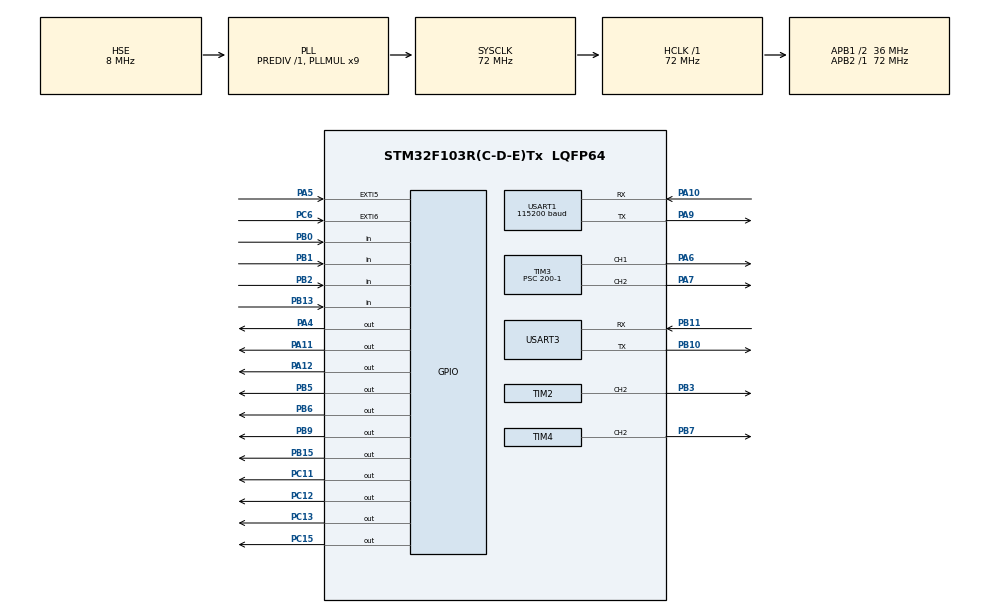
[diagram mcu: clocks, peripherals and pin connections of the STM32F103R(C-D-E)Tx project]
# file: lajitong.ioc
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Mcu.Family=STM32F1
Mcu.Name=STM32F103R(C-D-E)Tx
Mcu.Package=LQFP64
NVIC.EXTI9_5_IRQn=true\:1\:0\:true\:false\:true\:true\:true\:true
NVIC.PriorityGroup=NVIC_PRIORITYGROUP_4
NVIC.TIM1_UP_IRQn=true\:0\:0\:false\:false\:true\:true\:true\:true
NVIC.TIM4_IRQn=true\:3\:0\:true\:false\:true\:true\:true\:true
NVIC.TIM8_UP_IRQn=true\:0\:0\:false\:false\:true\:true\:true\:true
NVIC.USART1_IRQn=true\:0\:0\:true\:false\:true\:true\:true\:true
NVIC.USART3_IRQn=true\:0\:0\:false\:false\:true\:true\:true\:true
PA10.Mode=Asynchronous
PA10.Signal=USART1_RX
PA11.GPIO_PuPd=GPIO_PULLDOWN
PA11.GPIO_Speed=GPIO_SPEED_FREQ_HIGH
PA11.Signal=GPIO_Output
PA12.GPIO_PuPd=GPIO_PULLDOWN
PA12.GPIO_Speed=GPIO_SPEED_FREQ_HIGH
PA12.Signal=GPIO_Output
PA13.Mode=Serial_Wire
PA13.Signal=SYS_JTMS-SWDIO
PA14.Mode=Serial_Wire
PA14.Signal=SYS_JTCK-SWCLK
PA4.GPIO_PuPd=GPIO_PULLDOWN
PA4.GPIO_Speed=GPIO_SPEED_FREQ_HIGH
PA4.Signal=GPIO_Output
PA5.GPIO_ModeDefaultEXTI=GPIO_MODE_IT_FALLING
PA5.GPIO_PuPd=GPIO_PULLUP
PA5.Signal=GPXTI5
PA6.Signal=S_TIM3_CH1
PA7.Signal=S_TIM3_CH2
PA9.Mode=Asynchronous
PA9.Signal=USART1_TX
PB0.GPIO_PuPd=GPIO_PULLUP
PB0.Signal=GPIO_Input
PB1.GPIO_PuPd=GPIO_PULLUP
PB1.Signal=GPIO_Input
PB10.Mode=Asynchronous
PB10.Signal=USART3_TX
PB11.Mode=Asynchronous
PB11.Signal=USART3_RX
PB13.GPIO_PuPd=GPIO_PULLUP
PB13.Signal=GPIO_Input
PB15.GPIO_ModeDefaultOutputPP=GPIO_MODE_OUTPUT_PP
PB15.GPIO_PuPd=GPIO_PULLUP
PB15.GPIO_Speed=GPIO_SPEED_FREQ_HIGH
PB15.PinState=GPIO_PIN_SET
PB15.Signal=GPIO_Output
PB2.GPIO_PuPd=GPIO_PULLUP
PB2.Signal=GPIO_Input
PB3.Signal=S_TIM2_CH2
PB5.Signal=GPIO_Output
PB6.Signal=GPIO_Output
PB7.Signal=S_TIM4_CH2
PB9.Signal=GPIO_Output
PC11.GPIO_PuPd=GPIO_PULLDOWN
PC11.GPIO_Speed=GPIO_SPEED_FREQ_HIGH
PC11.Signal=GPIO_Output
PC12.GPIO_PuPd=GPIO_PULLDOWN
PC12.Signal=GPIO_Output
PC13-TAMPER-RTC.GPIO_ModeDefaultOutputPP=GPIO_MODE_OUTPUT_PP
PC13-TAMPER-RTC.GPIO_PuPd=GPIO_NOPULL
PC13-TAMPER-RTC.PinState=GPIO_PIN_RESET
PC13-TAMPER-RTC.Signal=GPIO_Output
PC15-OSC32_OUT.GPIO_PuPd=GPIO_PULLDOWN
PC15-OSC32_OUT.GPIO_Speed=GPIO_SPEED_FREQ_HIGH
PC15-OSC32_OUT.Signal=GPIO_Output
PC6.GPIO_ModeDefaultEXTI=GPIO_MODE_IT_FALLING
PC6.GPIO_PuPd=GPIO_PULLUP
PC6.Signal=GPXTI6
PD0-OSC_IN.Mode=HSE-External-Oscillator
PD0-OSC_IN.Signal=RCC_OSC_IN
PD1-OSC_OUT.Mode=HSE-External-Oscillator
PD1-OSC_OUT.Signal=RCC_OSC_OUT
ProjectManager.HeapSize=0x200
ProjectManager.StackSize=0x400
ProjectManager.TargetToolchain=MDK-ARM V5.32
RCC.AHBFreq_Value=72000000
RCC.APB1CLKDivider=RCC_HCLK_DIV2
RCC.APB1Freq_Value=36000000
RCC.APB1TimFreq_Value=72000000
RCC.APB2Freq_Value=72000000
RCC.APB2TimFreq_Value=72000000
RCC.HCLKFreq_Value=72000000
RCC.PLLMUL=RCC_PLL_MUL9
RCC.PLLSourceVirtual=RCC_PLLSOURCE_HSE
RCC.SYSCLKFreq_VALUE=72000000
RCC.SYSCLKSource=RCC_SYSCLKSOURCE_PLLCLK
RCC.USBFreq_Value=72000000
SH.S_TIM2_CH2.0=TIM2_CH2,PWM Generation2 CH2
SH.S_TIM3_CH1.0=TIM3_CH1,PWM Generation1 CH1
SH.S_TIM3_CH2.0=TIM3_CH2,PWM Generation2 CH2
SH.S_TIM4_CH2.0=TIM4_CH2,PWM Generation2 CH2
TIM1.Period=10000-1
TIM1.Prescaler=7200-1
TIM2.AutoReloadPreload=TIM_AUTORELOAD_PRELOAD_ENABLE
TIM2.Channel-PWM\ Generation2\ CH2=TIM_CHANNEL_2
TIM2.Period=199
TIM2.Prescaler=7199
TIM3.Channel-PWM\ Generation1\ CH1=TIM_CHANNEL_1
TIM3.Channel-PWM\ Generation2\ CH2=TIM_CHANNEL_2
TIM3.Period=100-1
TIM3.Prescaler=200-1
TIM3.Pulse-PWM\ Generation1\ CH1=19
TIM3.Pulse-PWM\ Generation2\ CH2=40
TIM4.AutoReloadPreload=TIM_AUTORELOAD_PRELOAD_ENABLE
TIM4.Channel-PWM\ Generation2\ CH2=TIM_CHANNEL_2
TIM4.Period=99
TIM4.Prescaler=71
TIM4.Pulse-PWM\ Generation2\ CH2=100
TIM8.Period=10000-1
TIM8.Prescaler=7200-1
USART1.BaudRate=115200
USART1.VirtualMode=VM_ASYNC
USART3.VirtualMode=VM_ASYNC
VP_TIM1_VS_ClockSourceINT.Mode=Internal
VP_TIM2_VS_ClockSourceINT.Mode=Internal
VP_TIM3_VS_ClockSourceINT.Mode=Internal
VP_TIM4_VS_ClockSourceINT.Mode=Internal
VP_TIM8_VS_ClockSourceINT.Mode=Internal
board=custom

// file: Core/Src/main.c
/* USER CODE BEGIN Header */
/**
  ******************************************************************************
  * @file           : main.c
  * @brief          : Main program body
  ******************************************************************************
  * @attention
  *
  * Copyright (c) 2024 STMicroelectronics.
  * All rights reserved.
  *
  * This software is licensed under terms that can be found in the LICENSE file
  * in the root directory of this software component.
  * If no LICENSE file comes with this software, it is provided AS-IS.
  *
  ******************************************************************************
  */
/* USER CODE END Header */
#include "main.h"
#include "tim.h"
#include "usart.h"
#include "gpio.h"

/* USER CODE BEGIN Includes */
//#include "bujin.h"
#include "control.h"
#include "stdio.h"
#include "HCSR04.h"

#define FRAME_LENGTH 5       //接收长度
extern uint8_t rxBuffer[FRAME_LENGTH]; //用于接收的数组
extern uint8_t rxData;    //接收数据，通过接收一个数据不停的数组移位实现接收多个数据

uint8_t hazardous_waste=0;//数量
uint8_t recyclable_waste=0;
uint8_t kitchen_waste=0;
uint8_t other_waste=0;

uint8_t serial_number=0;//总数量

uint8_t hazardous_waste1=0;//标志位
uint8_t kitchen_waste1=0;
uint8_t other_waste1=0;
uint8_t recyclable_waste1=0;

uint8_t waste = 0;

extern int a,b;

uint8_t youhai_yanman=0,kehuishou_yanman=0,chuyu_yanman=0,qita_yanman=0;

uint8_t kehuishouyasuo = 0;

uint32_t c=1;

uint8_t you = 0;

uint8_t ture1 = 0;

uint16_t bei=0;

uint8_t zhibei = 0;

uint8_t zxdnb = 0x00;
/* USER CODE END Includes */

void SystemClock_Config(void);
/* USER CODE BEGIN PFP */
//******************************************************************串口屏发送逻辑****************************************************************
void serial_touch_screen(void)
{

	serial_number++;

	switch(serial_number%2)
	{
		case 1:
		printf("page0.t15.txt=\"%d\"\xff\xff\xff",serial_number);
		printf("page0.t17.txt=\"%d\"\xff\xff\xff",1);
		printf("page0.t18.txt=\"YES\"\xff\xff\xff");
		switch(waste)
		{
		case 1:printf("page0.t16.txt=\"厨余垃圾\"\xff\xff\xff");break;
		case 3:printf("page0.t16.txt=\"其他垃圾\"\xff\xff\xff");break;
		case 2:printf("page0.t16.txt=\"可回收垃圾\"\xff\xff\xff");break;
		case 4:printf("page0.t16.txt=\"有害垃圾\"\xff\xff\xff");break;
		}
		break;

		case 0:
		printf("page0.t19.txt=\"%d\"\xff\xff\xff",serial_number);
		printf("page0.t21.txt=\"%d\"\xff\xff\xff",1);
		printf("page0.t22.txt=\"YES\"\xff\xff\xff");
		switch(waste)
		{
		case 1:printf("page0.t20.txt=\"厨余垃圾\"\xff\xff\xff");break;
		case 3:printf("page0.t20.txt=\"其他垃圾\"\xff\xff\xff");break;
		case 2:printf("page0.t20.txt=\"可回收垃圾\"\xff\xff\xff");break;
		case 4:printf("page0.t20.txt=\"有害垃圾\"\xff\xff\xff");break;
		}
		break;
	}
	switch(waste)
	{
		case 1:
			kitchen_waste++;
		printf("page0.t9.txt=\"%d\"\xff\xff\xff",kitchen_waste);waste=0;break;
		case 2:
			recyclable_waste++;
			printf("page0.t5.txt=\"%d\"\xff\xff\xff",recyclable_waste);waste=0;break;
		case 3:
			other_waste++;
			printf("page0.t7.txt=\"%d\"\xff\xff\xff",other_waste);waste=0;break;
		case 4:
			hazardous_waste++;
			printf("page0.t3.txt=\"%d\"\xff\xff\xff",hazardous_waste);waste=0;break;
	}

}
//***********************************************************外部中断回调函数***************************************************************
void HAL_GPIO_EXTI_Callback(uint16_t GPIO_Pin)
{
	if(a == 1)
	{
    switch(GPIO_Pin)
  {
    //第一个传送带处
    case GPIO_PIN_5:

    Motor1_disable();a=0;//第一个传送带停
		Motor2_disable();b=0;
		waste = 0;
    __HAL_GPIO_EXTI_CLEAR_IT(GPIO_PIN_5);  //清除中断标志
		HAL_TIM_Base_Start_IT(&htim1);
    break;

    //第二个传送带处
//    case GPIO_PIN_6:
//
//    HAL_TIM_Base_Stop_IT(&htim2);
//    Motor1_enable();a=1;
//		Motor2_disable();b=0;
//		if(waste != 0)
//		{
//			serial_touch_screen();
//	  }
//    __HAL_GPIO_EXTI_CLEAR_IT(GPIO_PIN_6);  //清除中断标志
//    break;
    default: break;
  }
  }
}

// *******************************下传送带运行4秒自动停止且串口屏显示垃圾信息*************************************************************

void HAL_TIM_PeriodElapsedCallback(TIM_HandleTypeDef *htim)
{
 	static uint16_t TIM1_Cnt1 = 0 , TIM1_Cnt2 = 0;

	if(htim->Instance == TIM1)
	{
		if(a==0&&b==0)
		{
		TIM1_Cnt2 ++;
	  }

    if(a==0&&b==1)
		{
		  TIM1_Cnt1 ++;
		  TIM1_Cnt2 = 0;
	  }
		if(a==1&&b==0)
		{
		  TIM1_Cnt1=0;
			TIM1_Cnt2 = 0;
		}

		if(TIM1_Cnt1 >= 4)
		{
			Motor2_disable();  b=0;
      Motor1_enable();  a=1;

			if(waste != 0)
			{
				  ture1 = 1;
					serial_touch_screen();

			}
			if(waste == 0 && you == 1 && ture1 == 0)
			{
				serial_number++;
				switch((serial_number)%2)
					{
						case 1:
						printf("page0.t15.txt=\"%d\"\xff\xff\xff",serial_number);
						printf("page0.t17.txt=\"%d\"\xff\xff\xff",1);
						printf("page0.t18.txt=\"NO\"\xff\xff\xff");
						printf("page0.t16.txt=\"无\"\xff\xff\xff");
						break;

						case 0:
						printf("page0.t19.txt=\"%d\"\xff\xff\xff",serial_number);
						printf("page0.t21.txt=\"%d\"\xff\xff\xff",1);
						printf("page0.t22.txt=\"NO\"\xff\xff\xff");
						printf("page0.t20.txt=\"无\"\xff\xff\xff");
						break;
					}
				you=0;
			}
			ture1 = 0;
			TIM1_Cnt1 = 0;
      HAL_TIM_Base_Stop_IT(&htim1);
      if(bei==1)
				{
					Motor2_disable();  b=0;
          Motor1_disable();  a=0;
			    zhibei = 1;
					bei = 0;
				}
		}

		if(TIM1_Cnt2 >= 5)
		{

				Motor2_enable();  b=1;
				Motor1_disable();  a=0;
				TIM1_Cnt2 = 0;
			if(waste == 0)
			{
				you = 1;
			}

		}
	}
//***************************************************************验满计数***********************************************************************
	if(htim->Instance == TIM8)
	{
		//*********************************************可回收*********************************************
		if(HAL_GPIO_ReadPin(GPIOB,GPIO_PIN_0) == 0 && kehuishou_yanman < 11)
		{
			kehuishou_yanman++;
		}
		if(kehuishou_yanman > 5)
		{
			  printf("page0.t6.txt=\"已满\"\xff\xff\xff");
			  kehuishouyasuo = 1;
		}
		if(HAL_GPIO_ReadPin(GPIOB,GPIO_PIN_0) == 1)
		{
			if(kehuishou_yanman > 0)
			{
			  kehuishou_yanman--;
			}
		}
		if(kehuishou_yanman < 5)
		{
			  printf("page0.t6.txt=\"未满\"\xff\xff\xff");
			kehuishouyasuo = 0;
		}
		//*********************************************厨余*********************************************
		if(HAL_GPIO_ReadPin(GPIOB,GPIO_PIN_2) == 0 && chuyu_yanman < 11)
		{
			chuyu_yanman++;
		}
		if(chuyu_yanman > 5)
		{
			  printf("page0.t10.txt=\"已满\"\xff\xff\xff");
		}
		if(HAL_GPIO_ReadPin(GPIOB,GPIO_PIN_2) == 1)
		{
			if(chuyu_yanman > 0)
			{
			  chuyu_yanman--;
			}
		}
		if(chuyu_yanman < 5)
		{
			  printf("page0.t10.txt=\"未满\"\xff\xff\xff");
		}
		//*********************************************其他*********************************************
		if(HAL_GPIO_ReadPin(GPIOB,GPIO_PIN_1) == 0 && qita_yanman < 11)
		{
			qita_yanman++;
		}
		if(qita_yanman > 5)
		{
			  printf("page0.t8.txt=\"已满\"\xff\xff\xff");
		}
		if(HAL_GPIO_ReadPin(GPIOB,GPIO_PIN_1) == 1)
		{
			if(qita_yanman > 0)
			{
			  qita_yanman--;
			}
		}
		if(qita_yanman < 5)
		{
			  printf("page0.t8.txt=\"未满\"\xff\xff\xff");
		}
		//*********************************************有害*********************************************
		if(HAL_GPIO_ReadPin(GPIOB,GPIO_PIN_13) == 0 && youhai_yanman < 11)
		{
			youhai_yanman++;
		}
		if(youhai_yanman > 5)
		{
			  printf("page0.t4.txt=\"已满\"\xff\xff\xff");
		}
		if(HAL_GPIO_ReadPin(GPIOB,GPIO_PIN_13) == 1)
		{
			if(youhai_yanman > 0)
			{
			  youhai_yanman--;
			}
		}
		if(youhai_yanman < 5)
		{
			  printf("page0.t4.txt=\"未满\"\xff\xff\xff");
		}
	}
}

/* USER CODE END PFP */

int main(void)
{

  /* MCU Configuration--------------------------------------------------------*/

  /* Reset of all peripherals, Initializes the Flash interface and the Systick. */
  HAL_Init();

  /* Configure the system clock */
  SystemClock_Config();

  /* Initialize all configured peripherals */
  MX_GPIO_Init();
  MX_USART1_UART_Init();
  MX_TIM2_Init();
  MX_TIM3_Init();
  MX_TIM4_Init();
  MX_USART3_UART_Init();
  MX_TIM1_Init();
  MX_TIM8_Init();
  /* USER CODE BEGIN 2 */

//定时器，串口初始化
  HAL_UART_Receive_IT(&huart3, &zxdnb, 1);
  HAL_UART_Receive_IT(&huart1, &rxData, 1);  //接收 ,串口中断开始接收
  HAL_TIM_PWM_Start(&htim2, TIM_CHANNEL_2);//打开对应定时器通道PB3舵机7V
  HAL_TIM_PWM_Start_IT(&htim3, TIM_CHANNEL_1);//打开对应定时器通道PA6 dirPA-11 12v
  HAL_TIM_PWM_Start_IT(&htim3, TIM_CHANNEL_2);//打开对应定时器通道PA7 dirPA12 12v
  HAL_TIM_PWM_Start_IT(&htim4, TIM_CHANNEL_1);//步进电机PB6,方向引脚PC11 12v 3.3v
  HAL_TIM_Base_Start_IT(&htim8);//打开定时器中断

//电机初始状态
  Motor4_disable();//失能步进电机

	Motor1_course(1);//传送带方向
  Motor2_course(1);

//  Motor2_enable();b=0;//初始传送带状态
//	Motor1_enable();a=1;
Motor1_disable();a=0;
Motor2_disable();b=0;
//舵机初始化状态
  __HAL_TIM_SET_COMPARE(&htim2, TIM_CHANNEL_2,10);

//串口屏清屏
  printf("page0.t15.txt=\"无\"\xff\xff\xff");
  printf("page0.t16.txt=\"无\"\xff\xff\xff");
	printf("page0.t17.txt=\"无\"\xff\xff\xff");
  printf("page0.t18.txt=\"无\"\xff\xff\xff");
  printf("page0.t19.txt=\"无\"\xff\xff\xff"); //清除屏幕
  printf("page0.t20.txt=\"无\"\xff\xff\xff");
	printf("page0.t21.txt=\"无\"\xff\xff\xff");
  printf("page0.t22.txt=\"无\"\xff\xff\xff");
  printf("page0.t9.txt=\"%d\"\xff\xff\xff",0);
	printf("page0.t5.txt=\"%d\"\xff\xff\xff",0);
	printf("page0.t7.txt=\"%d\"\xff\xff\xff",0);
	printf("page0.t3.txt=\"%d\"\xff\xff\xff",0);
	printf("page0.t4.txt=\"未满\"\xff\xff\xff");
	printf("page0.t6.txt=\"未满\"\xff\xff\xff");
	printf("page0.t8.txt=\"未满\"\xff\xff\xff");
	printf("page0.t10.txt=\"未满\"\xff\xff\xff");
	printf("page0.t23.txt=\"未启动\"\xff\xff\xff");

	maichong4(-140000);
	HAL_Delay(3000);

//压缩测试代码:
//			maichong4(140000);
//			HAL_Delay(8000);
//			maichong4(-140000);
//			HAL_Delay(8000);
//HAL_GPIO_WritePin(GPIOB, GPIO_PIN_5, GPIO_PIN_RESET);
//HAL_GPIO_WritePin(GPIOB, GPIO_PIN_6, GPIO_PIN_SET);
//HAL_Delay(9000);
//HAL_GPIO_WritePin(GPIOB, GPIO_PIN_5, GPIO_PIN_SET);
//HAL_GPIO_WritePin(GPIOB, GPIO_PIN_6, GPIO_PIN_RESET);
//HAL_Delay(9000);

  /* USER CODE END 2 */

  /* Infinite loop */
  /* USER CODE BEGIN WHILE */
  while (1)
  {

//***********************************************************可回收垃圾压缩并恢复初始状态************************************************************************
//		if(kehuishouyasuo == 1)
//		{
//			Motor2_disable();
//			Motor1_disable();
//			__HAL_TIM_SET_COMPARE(&htim2, TIM_CHANNEL_2,15);
//			HAL_Delay(3000);
//			maichong4(140000);
//			HAL_Delay(8000);
//			maichong4(-160000);
//			HAL_Delay(8000);
//			Motor2_disable(); b=0;
//			Motor1_enable(); a=1;
//			kehuishouyasuo = 0;
//		}

     if(zhibei == 1)
		 {
			Motor2_disable();
			Motor1_disable();
			__HAL_TIM_SET_COMPARE(&htim2, TIM_CHANNEL_2,15);
			HAL_Delay(3000);
			maichong4(140000);
			HAL_Delay(8000);
			maichong4(-160000);
			HAL_Delay(8000);
			Motor2_disable(); b=0;
			Motor1_enable(); a=1;
			zhibei = 0;
		 }

    /* USER CODE END WHILE */

    /* USER CODE BEGIN 3 */
//
/********************************************************************************判断垃圾种类执行对应反馈******************************************************************************************/
	    switch(rxBuffer[FRAME_LENGTH-2])
    {
        case 1:

        waste=1;
//        kitchen_waste++;
				__HAL_TIM_SET_COMPARE(&htim2, TIM_CHANNEL_2,25);  //厨余
				HAL_Delay(1000);
				Motor2_course(1);
				Motor2_enable();  b=1;
				Motor1_disable();  a=0;
				HAL_Delay(1000);
				HAL_TIM_Base_Start_IT(&htim1);
        rxBuffer[FRAME_LENGTH-2] = 0;

        break;

        case 3:

					waste=3;
        other_waste1=1;
//			  other_waste++;
				__HAL_TIM_SET_COMPARE(&htim2, TIM_CHANNEL_2,15);  //其他
				HAL_Delay(1000);
				Motor2_course(1);
				Motor2_enable(); b=1;
        Motor1_disable();  a=0;
				HAL_Delay(1000);
				HAL_TIM_Base_Start_IT(&htim1);
        rxBuffer[FRAME_LENGTH-2] = 0;

        break;

        case 2:

					waste=2;
			  recyclable_waste1=1;
//				recyclable_waste++;
				__HAL_TIM_SET_COMPARE(&htim2, TIM_CHANNEL_2,20);  //可回收
				HAL_Delay(1000);
				Motor2_course(1);
				Motor2_enable(); b=1;
        Motor1_disable();  a=0;
				HAL_Delay(1000);
				bei = 1;
				HAL_TIM_Base_Start_IT(&htim1);
        rxBuffer[FRAME_LENGTH-2] = 0;

        break;

        case 4:

					waste=4;
        hazardous_waste1=1;
//				hazardous_waste++;
				__HAL_TIM_SET_COMPARE(&htim2, TIM_CHANNEL_2,10); //有害
				HAL_Delay(1000);
				Motor2_course(1);
				Motor2_enable(); b=1;
        Motor1_disable();  a=0;
				HAL_Delay(1000);
				HAL_TIM_Base_Start_IT(&htim1);
        rxBuffer[FRAME_LENGTH-2] = 0;

        break;
//***********************************************打开yolov5后重新初始系统***********************************************************************************
				case 9:
				Motor2_disable(); b=0;
        Motor1_enable();  a=1;
				printf("page0.t23.txt=\"已启动\"\xff\xff\xff");
        rxBuffer[FRAME_LENGTH-2] = 0;
        break;
        default: break;
    }
  }
  /* USER CODE END 3 */
}

void SystemClock_Config(void)
{
  RCC_OscInitTypeDef RCC_OscInitStruct = {0};
  RCC_ClkInitTypeDef RCC_ClkInitStruct = {0};

  /** Initializes the RCC Oscillators according to the specified parameters
  * in the RCC_OscInitTypeDef structure.
  */
  RCC_OscInitStruct.OscillatorType = RCC_OSCILLATORTYPE_HSE;
  RCC_OscInitStruct.HSEState = RCC_HSE_ON;
  RCC_OscInitStruct.HSEPredivValue = RCC_HSE_PREDIV_DIV1;
  RCC_OscInitStruct.HSIState = RCC_HSI_ON;
  RCC_OscInitStruct.PLL.PLLState = RCC_PLL_ON;
  RCC_OscInitStruct.PLL.PLLSource = RCC_PLLSOURCE_HSE;
  RCC_OscInitStruct.PLL.PLLMUL = RCC_PLL_MUL9;
  if (HAL_RCC_OscConfig(&RCC_OscInitStruct) != HAL_OK)
  {
    Error_Handler();
  }

  /** Initializes the CPU, AHB and APB buses clocks
  */
  RCC_ClkInitStruct.ClockType = RCC_CLOCKTYPE_HCLK|RCC_CLOCKTYPE_SYSCLK
                              |RCC_CLOCKTYPE_PCLK1|RCC_CLOCKTYPE_PCLK2;
  RCC_ClkInitStruct.SYSCLKSource = RCC_SYSCLKSOURCE_PLLCLK;
  RCC_ClkInitStruct.AHBCLKDivider = RCC_SYSCLK_DIV1;
  RCC_ClkInitStruct.APB1CLKDivider = RCC_HCLK_DIV2;
  RCC_ClkInitStruct.APB2CLKDivider = RCC_HCLK_DIV1;

  if (HAL_RCC_ClockConfig(&RCC_ClkInitStruct, FLASH_LATENCY_2) != HAL_OK)
  {
    Error_Handler();
  }
}

void Error_Handler(void)
{
  __disable_irq();
  while (1)
  {
  }
}
